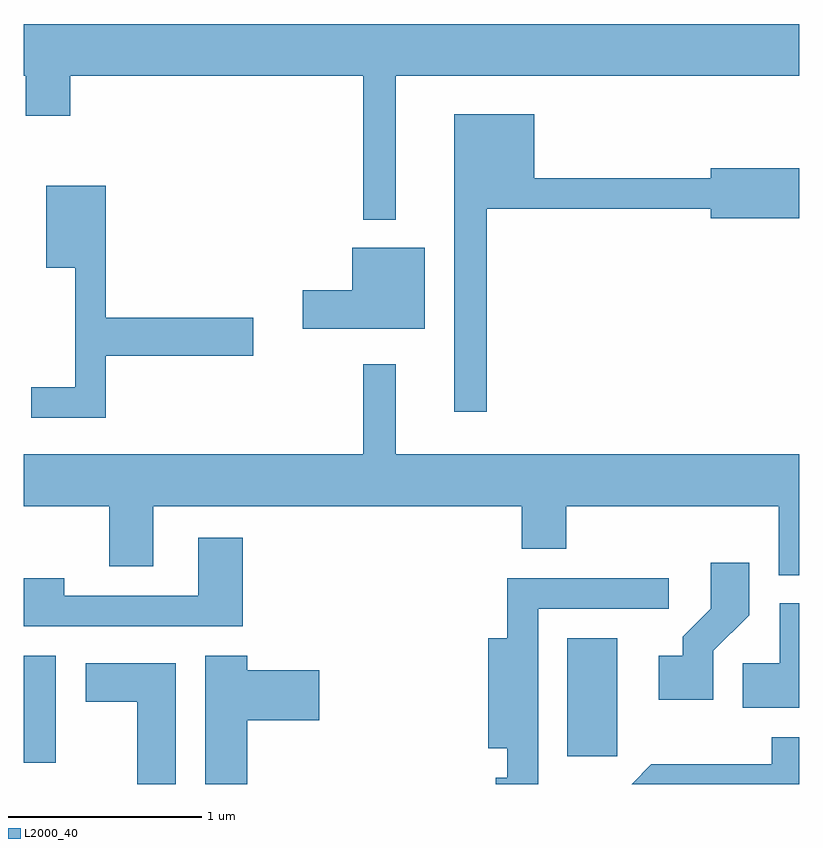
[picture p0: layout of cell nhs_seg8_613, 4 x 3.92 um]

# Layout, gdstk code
import gdstk
lib = gdstk.Library(unit=1e-6, precision=1e-09)
def R(c, l, rs):  # rectangles x0, y0, x1, y1
    for r in rs: c.add(gdstk.rectangle(r[:2], r[2:], *l))
def P(c, l, *ps):  # polygons
    for p in ps: c.add(gdstk.Polygon(p, *l))
L2000_40 = (2000, 40)

nhs_seg8_613 = lib.new_cell('nhs_seg8_613')
R(nhs_seg8_613, L2000_40, [(203.611,1808.451,203.774,1809.004), (206.416,1808.486,206.674,1809.094)])
P(nhs_seg8_613, L2000_40, [(205.529,1811.996),(207.611,1811.996),(207.611,1812.264),(203.611,1812.264),(203.611,1811.996),(203.621,1811.996),(203.621,1811.791),(203.849,1811.791),(203.849,1811.996),(205.361,1811.996),(205.361,1811.253),(205.529,1811.253)],
  [(205.999,1811.311),(207.156,1811.311),(207.156,1811.261),(207.611,1811.261),(207.611,1811.519),(207.156,1811.519),(207.156,1811.469),(206.244,1811.469),(206.244,1811.799),(205.831,1811.799),(205.831,1810.263),(205.999,1810.263)],
  [(204.034,1810.551),(204.794,1810.551),(204.794,1810.749),(204.034,1810.749),(204.034,1811.429),(203.726,1811.429),(203.726,1811.006),(203.876,1811.006),(203.876,1810.389),(203.648,1810.389),(203.648,1810.231),(204.034,1810.231)],
  [(205.679,1811.109),(205.306,1811.109),(205.306,1810.889),(205.051,1810.889),(205.051,1810.691),(205.679,1810.691)],
  [(207.611,1810.044),(205.529,1810.044),(205.529,1810.508),(205.361,1810.508),(205.361,1810.044),(203.611,1810.044),(203.611,1809.776),(204.051,1809.776),(204.051,1809.466),(204.279,1809.466),(204.279,1809.776),(206.181,1809.776),(206.181,1809.556),(206.409,1809.556),(206.409,1809.776),(207.506,1809.776),(207.506,1809.418),(207.611,1809.418)],
  [(204.739,1809.614),(204.511,1809.614),(204.511,1809.314),(203.819,1809.314),(203.819,1809.404),(203.611,1809.404),(203.611,1809.156),(204.739,1809.156)],
  [(207.169,1809.029),(207.354,1809.214),(207.354,1809.484),(207.156,1809.484),(207.156,1809.247),(207.011,1809.102),(207.011,1809.004),(206.886,1809.004),(206.886,1808.776),(207.169,1808.776)],
  [(206.264,1809.246),(206.938,1809.246),(206.938,1809.404),(206.106,1809.404),(206.106,1809.094),(206.006,1809.094),(206.006,1808.526),(206.106,1808.526),(206.106,1808.374),(206.046,1808.374),(206.046,1808.342),(206.264,1808.342)],
  [(207.611,1809.274),(207.511,1809.274),(207.511,1808.964),(207.321,1808.964),(207.321,1808.736),(207.611,1808.736)],
  [(204.764,1808.671),(205.134,1808.671),(205.134,1808.929),(204.764,1808.929),(204.764,1809.004),(204.546,1809.004),(204.546,1808.342),(204.764,1808.342)],
  [(204.394,1808.964),(203.931,1808.964),(203.931,1808.766),(204.196,1808.766),(204.196,1808.342),(204.394,1808.342)],
  [(207.611,1808.584),(207.471,1808.584),(207.471,1808.444),(206.849,1808.444),(206.747,1808.342),(207.611,1808.342)])

lib.write_gds('nhs_seg8_613.gds')
